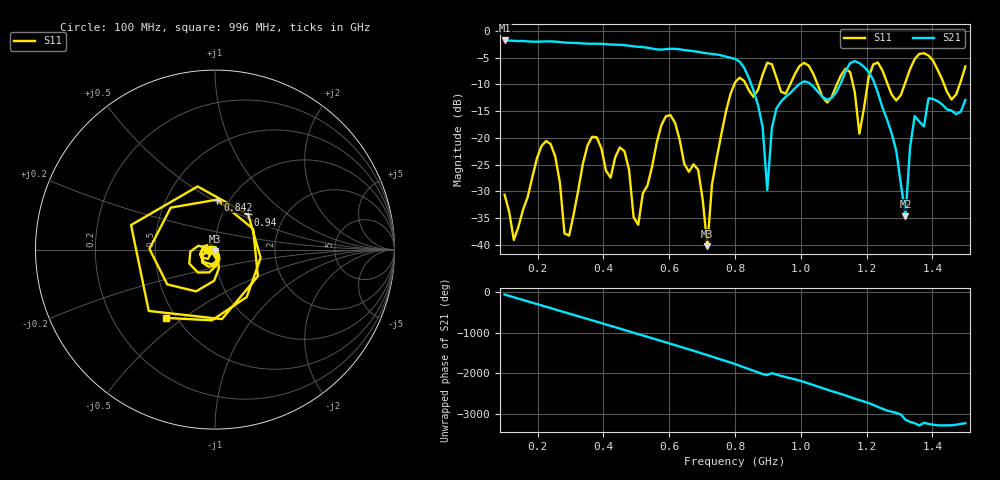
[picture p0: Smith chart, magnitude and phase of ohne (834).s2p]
! NanoVNA-App
! Date: 2025-09-25 14:27:17
! Start: 100MHz Stop: 1,5GHz Points: 101
! S-Parameter data: F S11 S21 S12 S22
# Hz S RI R 50
!  Frequency  S11_Real  S11_Imag  S21_Real  S21_Imag  S12_Real  S12_Imag  S22_Real  S22_Imag
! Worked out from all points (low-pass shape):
!   101 points, 100 MHz to 1.5 GHz, reference 50 ohm
!   highest |S21| = -1.79 dB at 100 MHz (marker M1); lowest = -34.6 dB at 1.318 GHz (marker M2)
!   |S21| within 3 dB of the highest: start of sweep to 771 MHz
!   lowest |S11| = -40.3 dB at 716 MHz (marker M3), VSWR 1.02, Z = 49.7 - j0.926 ohm
!   |S11| at or under -10 dB: start of sweep to 797.8 MHz; 833.1 MHz to 875.1 MHz (41.95 MHz wide, 4.91 % of centre); 1.051 GHz to 1.11 GHz (58.81 MHz wide, 5.44 % of centre) (the widest 3 of 7)
!   S12 and S22 are empty: the file has one direction only
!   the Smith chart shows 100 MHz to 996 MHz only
!   S11 on the Smith chart (normalised r, x): 100 MHz: 0.94, -0.01; 842 MHz: 0.88, +0.53; 940 MHz: 1.32, +0.56; 996 MHz: 0.44, -0.43
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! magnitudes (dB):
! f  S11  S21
! 100 MHz  -30.6  -1.8
! 128 MHz  -39.1  -1.9
! 226 MHz  -20.6  -2.0
! 296 MHz  -38.3  -2.2
! 338 MHz  -24.8  -2.4
! 464 MHz  -22.5  -2.7
! 506 MHz  -36.3  -3.0
! 576 MHz  -17.7  -3.5
! 688 MHz  -26.0  -3.9
! 716 MHz  -40.3  -4.2
! 800 MHz  -9.7  -5.2
! 842 MHz  -11.1  -8.8
! 898 MHz  -6.0  -29.8
! 940 MHz  -11.4  -13.2
! 996 MHz  -6.6  -9.9
! 1.038 GHz  -8.0  -10.4
! 1.178 GHz  -19.2  -6.0
! 1.22 GHz  -6.3  -9.2
! 1.276 GHz  -11.9  -19.2
! 1.318 GHz  -9.6  -34.6
! 1.346 GHz  -5.3  -15.9
! 1.5 GHz  -6.6  -12.9
